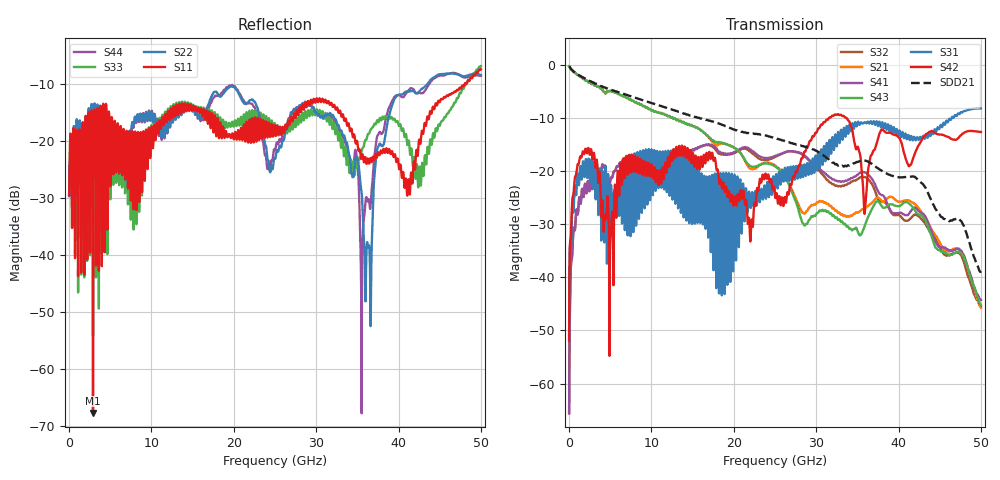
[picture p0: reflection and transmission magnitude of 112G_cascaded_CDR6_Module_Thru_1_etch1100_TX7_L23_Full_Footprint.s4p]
! Created Tue Feb 26 09:56:07 2019
# hz S ma R 50
! 4 Port Network Data from SP1.SP block
! freq  magS11  angS11  magS12  angS12  magS13  angS13  magS14  angS14
!  magS21  angS21  magS22  angS22  magS23  angS23  magS24  angS24
!  magS31  angS31  magS32  angS32  magS33  angS33  magS34  angS34
!  magS41  angS41  magS42  angS42  magS43  angS43  magS44  angS44
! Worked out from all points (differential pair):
!   5000 points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, 10 MHz to 50 GHz, reference 50 ohm
!   strongest paths, dB at 10 MHz, 12.51 GHz, 25.01 GHz, 37.51 GHz, 50 GHz:
!     S42: -51.9, -18.2, -24.8, -14.0, -12.7
!     S31: -51.9, -21.5, -23.4, -11.6, -8.3
!     S43: -0.3, -9.9, -19.1, -25.7, -45.3
!     S41: -65.6, -16.6, -17.2, -23.8, -44.2
!     S21: -0.3, -9.9, -19.0, -25.0, -45.7
!     S32: -65.6, -16.6, -17.4, -25.3, -45.5
!   taken as a pair (ports 3,1 in; 4,2 out), SDD21 dB: -0.3, -8.5, -13.8, -19.5, -39.2
!   lowest |S11| = -67.7 dB at 2.91 GHz (marker M1), VSWR 1.00, Z = 50 + j0.0412 ohm
!   |S11| at or under -10 dB: start of sweep to 48.01 GHz
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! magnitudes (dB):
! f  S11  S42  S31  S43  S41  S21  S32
! 10 MHz  -29.4  -51.9  -51.9  -0.3  -65.6  -0.3  -65.6
! 2.91 GHz  -67.7  -17.5  -22.9  -3.6  -22.0  -3.6  -22.0
! 22.12 GHz  -19.2  -29.8  -25.8  -19.2  -16.1  -19.6  -16.5
! 31.85 GHz  -13.3  -9.8  -16.2  -28.1  -21.4  -26.7  -22.3
! 36.5 GHz  -23.5  -18.1  -11.0  -28.0  -21.0  -26.3  -21.9
! 39.59 GHz  -22.4  -13.2  -13.0  -26.5  -27.9  -25.4  -28.3
! 50 GHz  -7.4  -12.7  -8.3  -45.3  -44.2  -45.7  -45.5
